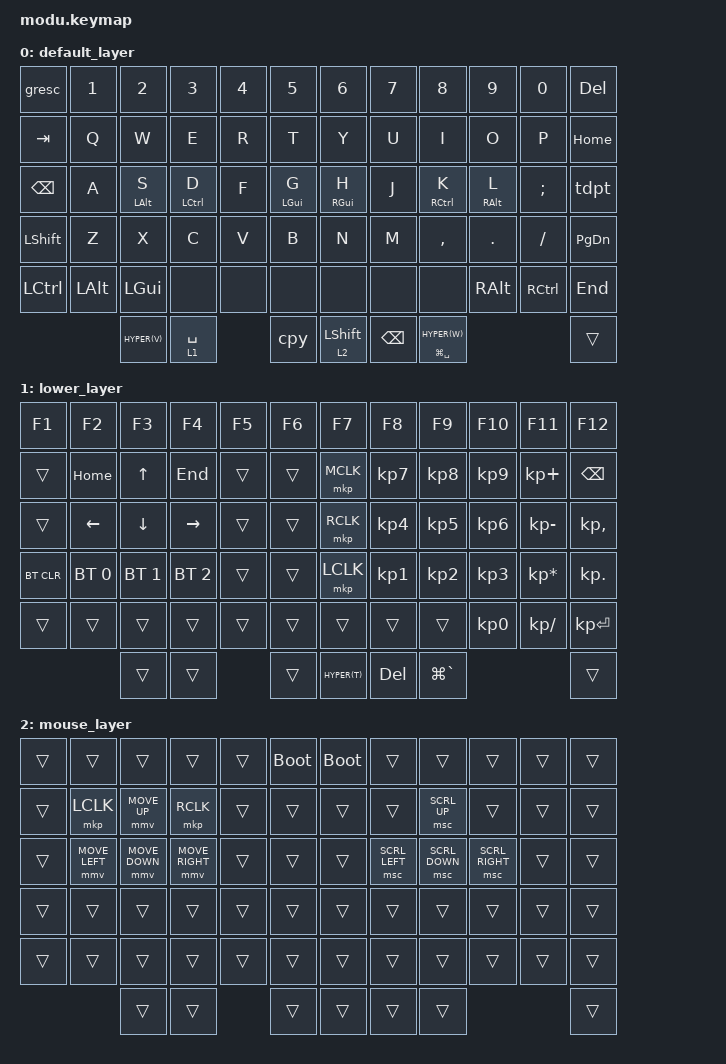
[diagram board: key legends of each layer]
/*
 * Copyright (c) 2026 EKS Inc.
 * Created by Ryu.
 * SPDX-License-Identifier: LicenseRef-EKS-NonCommercial-1.0
 */

#include <behaviors.dtsi>
#include <dt-bindings/zmk/behaviors.h>
#include <dt-bindings/zmk/keys.h>
#include <dt-bindings/zmk/bt.h>
#include <dt-bindings/zmk/pointing.h>

/*
 * Raycast hotkeys. Hyper = Ctrl+Opt+Shift+Cmd, which nothing else on this Mac
 * uses (AeroSpace is alt-*). Record the same combos in Raycast settings.
 */
#define HYPER(k)  LS(LC(LA(LG(k))))
#define RC_LAUNCH LG(SPACE)   /* Raycast launcher (Cmd+Space)            */
#define RC_CLIP   HYPER(V)    /* Raycast: Clipboard History              */
#define RC_WIN    HYPER(W)    /* Raycast: Switch Windows                 */
#define RC_TABS   HYPER(T)    /* Raycast: Search Browser Tabs            */

/ {
    behaviors {
        /*
         * Home-row mods only become holds when a key on the opposite hand is
         * pressed. This keeps same-hand typing from accidentally triggering a
         * modifier.
         */
        hml: home_row_mod_left {
            compatible = "zmk,behavior-hold-tap";
            #binding-cells = <2>;
            flavor = "balanced";
            require-prior-idle-ms = <175>;
            tapping-term-ms = <280>;
            quick-tap-ms = <175>;
            bindings = <&kp>, <&kp>;
            hold-trigger-key-positions = <30 31 32 33 34 35 36 37 38 39 40 41 42 43 44 45 46 47 48 49 50 51 52 53 54 55 56 57 58 59 63 64 65 66>;
            hold-trigger-on-release;
        };

        hmr: home_row_mod_right {
            compatible = "zmk,behavior-hold-tap";
            #binding-cells = <2>;
            flavor = "balanced";
            require-prior-idle-ms = <175>;
            tapping-term-ms = <280>;
            quick-tap-ms = <175>;
            bindings = <&kp>, <&kp>;
            hold-trigger-key-positions = <0 1 2 3 4 5 6 7 8 9 10 11 12 13 14 15 16 17 18 19 20 21 22 23 24 25 26 27 28 29 60 61 62>;
            hold-trigger-on-release;
        };

        skq: quick_sticky_key {
            compatible = "zmk,behavior-sticky-key";
            #binding-cells = <1>;
            bindings = <&kp>;
            release-after-ms = <1000>;
            quick-release;
            ignore-modifiers;
        };

        /* Tap = one-shot Shift; hold = mouse_layer (layer 2). */
        sml: sticky_shift_mouse_layer {
            compatible = "zmk,behavior-hold-tap";
            #binding-cells = <2>;
            flavor = "balanced";
            tapping-term-ms = <280>;
            bindings = <&mo &skq>;
        };

        /* Usage: &tkh HOLD_KEY TAP_KEY. Hold (>200 ms) = first key, tap = second key. */
        tkh: tap_key_hold_key {
            compatible = "zmk,behavior-hold-tap";
            #binding-cells = <2>;
            flavor = "tap-preferred";
            tapping-term-ms = <200>;
            bindings = <&kp>, <&kp>;
        };

        /* 1 tap = Cmd+C, 2 taps = Cmd+V, hold = Cmd+A. */
        cpy: copy_paste_select_all {
            compatible = "zmk,behavior-tap-dance";
            #binding-cells = <0>;
            tapping-term-ms = <200>;
            bindings = <&tkh LG(A) LG(C)>, <&kp LG(V)>;
        };

        /* Tap = Page Up; double-tap = Ctrl+B for tmux. */
        tdpt: page_up_tmux_prefix {
            compatible = "zmk,behavior-tap-dance";
            #binding-cells = <0>;
            tapping-term-ms = <200>;
            bindings = <&kp PG_UP &kp LC(B)>;
        };

    };

    combos {
        compatible = "zmk,combos";

        combo_qw_lbracket {
            timeout-ms = <50>;
            require-prior-idle-ms = <150>;
            key-positions = <13 14>;
            layers = <0>;
            bindings = <&kp LBKT>;
        };

        combo_op_rbracket {
            timeout-ms = <50>;
            require-prior-idle-ms = <150>;
            key-positions = <21 22>;
            layers = <0>;
            bindings = <&kp RBKT>;
        };

        /* U+I = \   (Shift first -> |) */
        combo_ui_backslash {
            timeout-ms = <50>;
            require-prior-idle-ms = <150>;
            key-positions = <19 20>;
            layers = <0>;
            bindings = <&kp BSLH>;
        };

        /* I+O = ~ */
        combo_io_tilde {
            timeout-ms = <40>;
            require-prior-idle-ms = <150>;
            key-positions = <20 21>;
            layers = <0>;
            bindings = <&kp TILDE>;
        };

        /* M+, = ` (backtick) */
        combo_mcomma_grave {
            timeout-ms = <40>;
            require-prior-idle-ms = <150>;
            key-positions = <43 44>;
            layers = <0>;
            bindings = <&kp GRAVE>;
        };

        /* D+F = Caps Lock; on macOS a short Caps press switches 한/영. (Was W+R.) */
        combo_df_caps {
            timeout-ms = <40>;
            require-prior-idle-ms = <150>;
            key-positions = <27 28>;
            layers = <0>;
            bindings = <&kp CAPS>;
        };

        /* J+K = ESC */
        combo_jk_esc {
            timeout-ms = <40>;
            require-prior-idle-ms = <150>;
            key-positions = <31 32>;
            layers = <0>;
            bindings = <&kp ESC>;
        };

        combo_xc_tab {
            timeout-ms = <50>;
            require-prior-idle-ms = <150>;
            key-positions = <38 39>;
            layers = <0>;
            bindings = <&kp TAB>;
        };

        combo_lsemi_enter {
            timeout-ms = <50>;
            require-prior-idle-ms = <150>;
            key-positions = <33 34>;
            layers = <0>;
            bindings = <&kp RET>;
        };
    };

    keymap {
        compatible = "zmk,keymap";

        default_layer {
// -----------------------------------------------------------------
// |ESC/GRV| 1  | 2  | 3  | 4  | 5  |   | 6  | 7  | 8  | 9  | 0  |DEL |
// |TAB    | Q  | W  | E  | R  | T  |   | Y  | U  | I  | O  | P  |HOME|
// |BSPC   | A  |S/ALT|D/CTL| F  |G/GUI| |H/GUI| J  |K/CTL|L/ALT| ;  |PGUP|
// |LSFT| Z  | X  | C  | V  | B  |   | N  | M  | ,  | .  | /  |PGDN|
// |LCTL|LALT|LGUI|                                 |RALT|RCTL|END |
//        |CLIP|SPC/LOWER|COPY x1 PASTE x2 SELECT-ALL hold|   |OS SHIFT/MOUSE|BSPC|WINDOWS(tap)/RAYCAST(hold)|(no key)|
// Lower thumbs (hold Space): TABS | DEL | Cmd+`      Enter = L+; combo
// Combos: U+I = \   I+O = ~   M+, = `   Q+W = [   O+P = ]
//         D+F = CAPS (한/영)   J+K = ESC   X+C = TAB   L+; = RET
            bindings = <
&gresc      &kp N1   &kp N2    &kp N3    &kp N4    &kp N5      &kp N6    &kp N7    &kp N8    &kp N9    &kp N0    &kp DEL
&kp TAB     &kp Q    &kp W     &kp E     &kp R     &kp T       &kp Y     &kp U     &kp I     &kp O     &kp P     &kp HOME
&kp BSPC    &kp A    &hml LALT S &hml LCTRL D &kp F &hml LGUI G &hmr RGUI H &kp J &hmr RCTRL K &hmr RALT L &kp SEMI &tdpt
&kp LSHFT   &kp Z    &kp X     &kp C     &kp V     &kp B       &kp N     &kp M     &kp COMMA &kp DOT   &kp FSLH  &kp PG_DN
&kp LCTRL &kp LALT &kp LGUI  &none     &none     &none       &none     &none     &none     &kp RALT  &kp RCTRL &kp END
                     &kp RC_CLIP   &lt 1 SPACE   &cpy        &sml 2 LSHIFT &kp BSPC  &tkh RC_LAUNCH RC_WIN   &trans
            >;
        };

        lower_layer {
            bindings = <
&kp F1   &kp F2  &kp F3    &kp F4    &kp F5    &kp F6                   &kp F7    &kp F8    &kp F9    &kp F10   &kp F11   &kp F12
&trans   &kp HOME   &kp UP    &kp END    &trans   &trans                &mkp MCLK      &kp KP_N7    &kp KP_N8    &kp KP_N9   &kp KP_PLUS        &kp BSPC
&trans   &kp LEFT   &kp DOWN    &kp RIGHT    &trans   &trans            &mkp RCLK     &kp KP_N4    &kp KP_N5    &kp KP_N6   &kp KP_MINUS       &kp KP_COMMA
&bt BT_CLR &bt BT_SEL 0 &bt BT_SEL 1 &bt BT_SEL 2 &trans  &trans        &mkp LCLK   &kp KP_N1    &kp KP_N2    &kp KP_N3    &kp KP_MULTIPLY        &kp KP_DOT
&trans   &trans  &trans    &trans    &trans    &trans      &trans       &trans    &trans    &kp KP_N0    &kp KP_DIVIDE      &kp KP_ENTER
                            &trans    &trans    &trans      &kp RC_TABS &kp DEL   &kp LG(GRAVE) &trans
            >;
        };

        mouse_layer {
            bindings = <
&trans  &trans          &trans          &trans           &trans  &bootloader  &bootloader  &trans          &trans          &trans           &trans  &trans
&trans  &mkp LCLK       &mmv MOVE_UP    &mkp RCLK        &trans  &trans       &trans       &trans          &msc SCRL_UP    &trans           &trans  &trans
&trans  &mmv MOVE_LEFT  &mmv MOVE_DOWN  &mmv MOVE_RIGHT  &trans  &trans       &trans       &msc SCRL_LEFT  &msc SCRL_DOWN  &msc SCRL_RIGHT  &trans  &trans
&trans  &trans          &trans          &trans           &trans  &trans       &trans       &trans          &trans          &trans           &trans  &trans
&trans  &trans          &trans          &trans           &trans  &trans       &trans       &trans          &trans          &trans           &trans  &trans
&trans  &trans          &trans                                                &trans       &trans          &trans          &trans
            >;
        };

    };
};
